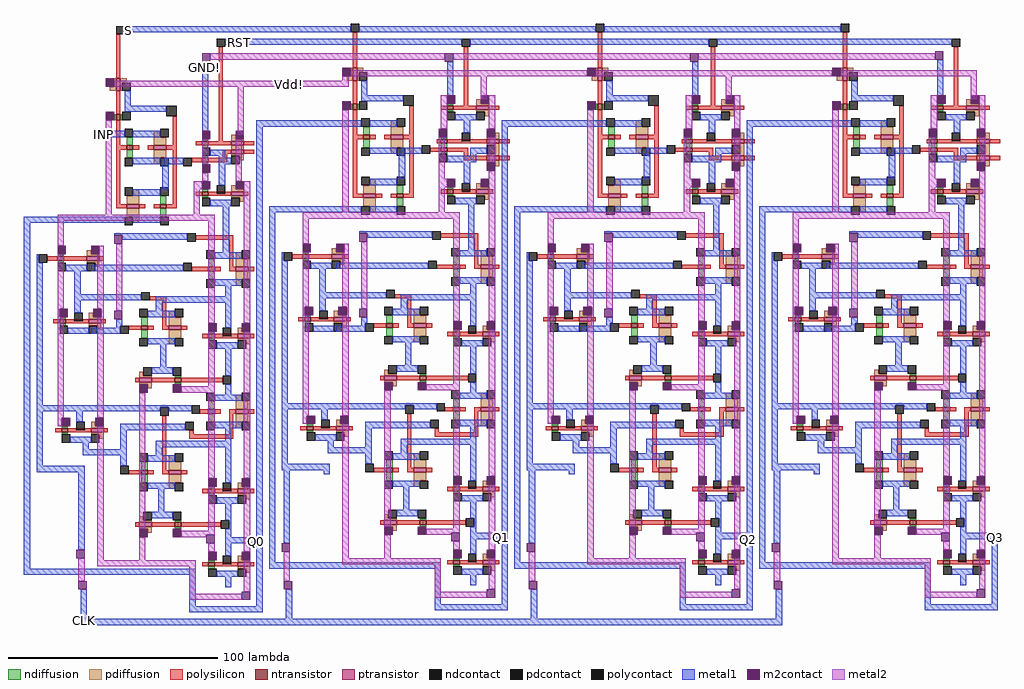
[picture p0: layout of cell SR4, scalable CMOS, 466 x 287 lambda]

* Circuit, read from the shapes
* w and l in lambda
.subckt SR4 CLK GND! INP Q0 Q1 Q2 Q3 RST S Vdd!
M1 GND! CLK dffP_0/gate_2/S VSUBS nfet w=3 l=2
M2 GND! dffP_0/gate_2/S dffP_0/gate_0/S VSUBS nfet w=3 l=2
M3 GND! CLK dffP_0/gate_1/S VSUBS nfet w=3 l=2
M4 mux2x1_1/Smb S GND! VSUBS nfet w=3 l=2
M5 INP S dffP_0/D VSUBS nfet w=3 l=2
M6 dffP_0/gate_3/Gin dffP_0/gate_1/S dffP_0/gate_3/Gout VSUBS nfet w=3 l=2
M7 dffP_0/gate_2/Gin dffP_0/gate_0/S dffP_0/gate_2/Gout VSUBS nfet w=3 l=2
M8 dffP_0/D mux2x1_1/Smb Q0 VSUBS nfet w=3 l=2
M9 dffP_0/gate_3/Gout Q0 GND! VSUBS nfet w=3 l=2
M10 dffP_0/gate_2/Gout dffP_0/gate_1/Gin GND! VSUBS nfet w=3 l=2
M11 GND! dffP_0/inverter_11/in dffP_0/gate_0/Gin VSUBS nfet w=3 l=2
M12 dffP_0/inverter_11/in dffP_0/D GND! VSUBS nfet w=3 l=2
M13 GND! RST dffP_0/inverter_11/in VSUBS nfet w=3 l=2
M14 GND! Q0 dffP_0/Qb VSUBS nfet w=3 l=2
M15 GND! dffP_0/gate_3/Gin Q0 VSUBS nfet w=3 l=2
M16 dffP_0/gate_1/Gin CLK dffP_0/gate_3/Gin VSUBS nfet w=3 l=2
M17 GND! dffP_0/gate_2/Gin dffP_0/gate_1/Gin VSUBS nfet w=3 l=2
M18 dffP_0/gate_0/Gin dffP_0/gate_2/S dffP_0/gate_2/Gin VSUBS nfet w=3 l=2
M19 GND! CLK dff3B_0/gate_2/S VSUBS nfet w=3 l=2
M20 GND! dff3B_0/gate_2/S dff3B_0/gate_0/S VSUBS nfet w=3 l=2
M21 GND! CLK dff3B_0/gate_1/S VSUBS nfet w=3 l=2
M22 mux2x1_0/Smb S GND! VSUBS nfet w=3 l=2
M23 Q0 S dff3B_0/D VSUBS nfet w=3 l=2
M24 dff3B_0/gate_3/Gin dff3B_0/gate_1/S dff3B_0/gate_3/Gout VSUBS nfet w=3 l=2
M25 dff3B_0/gate_2/Gin dff3B_0/gate_0/S dff3B_0/gate_2/Gout VSUBS nfet w=3 l=2
M26 dff3B_0/D mux2x1_0/Smb Q1 VSUBS nfet w=3 l=2
M27 dff3B_0/gate_3/Gout Q1 GND! VSUBS nfet w=3 l=2
M28 dff3B_0/gate_2/Gout dff3B_0/gate_1/Gin GND! VSUBS nfet w=3 l=2
M29 n1 dff3B_0/D dff3B_0/inverter_11/in VSUBS nfet w=3 l=2
M30 GND! dff3B_0/nand2_0/nand_in1 n1 VSUBS nfet w=3 l=2
M31 GND! dff3B_0/inverter_11/in dff3B_0/gate_0/Gin VSUBS nfet w=3 l=2
M32 GND! RST dff3B_0/nand2_0/nand_in1 VSUBS nfet w=3 l=2
M33 GND! Q1 dff3B_0/Qb VSUBS nfet w=3 l=2
M34 GND! dff3B_0/gate_3/Gin Q1 VSUBS nfet w=3 l=2
M35 dff3B_0/gate_1/Gin CLK dff3B_0/gate_3/Gin VSUBS nfet w=3 l=2
M36 GND! dff3B_0/gate_2/Gin dff3B_0/gate_1/Gin VSUBS nfet w=3 l=2
M37 dff3B_0/gate_0/Gin dff3B_0/gate_2/S dff3B_0/gate_2/Gin VSUBS nfet w=3 l=2
M38 GND! CLK dff3B_1/gate_2/S VSUBS nfet w=3 l=2
M39 GND! dff3B_1/gate_2/S dff3B_1/gate_0/S VSUBS nfet w=3 l=2
M40 GND! CLK dff3B_1/gate_1/S VSUBS nfet w=3 l=2
M41 mux2x1_2/Smb S GND! VSUBS nfet w=3 l=2
M42 Q1 S dff3B_1/D VSUBS nfet w=3 l=2
M43 dff3B_1/gate_3/Gin dff3B_1/gate_1/S dff3B_1/gate_3/Gout VSUBS nfet w=3 l=2
M44 dff3B_1/gate_2/Gin dff3B_1/gate_0/S dff3B_1/gate_2/Gout VSUBS nfet w=3 l=2
M45 dff3B_1/D mux2x1_2/Smb Q2 VSUBS nfet w=3 l=2
M46 dff3B_1/gate_3/Gout Q2 GND! VSUBS nfet w=3 l=2
M47 dff3B_1/gate_2/Gout dff3B_1/gate_1/Gin GND! VSUBS nfet w=3 l=2
M48 n2 dff3B_1/D dff3B_1/inverter_11/in VSUBS nfet w=3 l=2
M49 GND! dff3B_1/nand2_0/nand_in1 n2 VSUBS nfet w=3 l=2
M50 GND! dff3B_1/inverter_11/in dff3B_1/gate_0/Gin VSUBS nfet w=3 l=2
M51 GND! RST dff3B_1/nand2_0/nand_in1 VSUBS nfet w=3 l=2
M52 GND! Q2 dff3B_1/Qb VSUBS nfet w=3 l=2
M53 GND! dff3B_1/gate_3/Gin Q2 VSUBS nfet w=3 l=2
M54 dff3B_1/gate_1/Gin CLK dff3B_1/gate_3/Gin VSUBS nfet w=3 l=2
M55 GND! dff3B_1/gate_2/Gin dff3B_1/gate_1/Gin VSUBS nfet w=3 l=2
M56 dff3B_1/gate_0/Gin dff3B_1/gate_2/S dff3B_1/gate_2/Gin VSUBS nfet w=3 l=2
M57 GND! CLK dff3B_2/gate_2/S VSUBS nfet w=3 l=2
M58 GND! dff3B_2/gate_2/S dff3B_2/gate_0/S VSUBS nfet w=3 l=2
M59 GND! CLK dff3B_2/gate_1/S VSUBS nfet w=3 l=2
M60 mux2x1_3/Smb S GND! VSUBS nfet w=3 l=2
M61 Q2 S dff3B_2/D VSUBS nfet w=3 l=2
M62 dff3B_2/gate_3/Gin dff3B_2/gate_1/S dff3B_2/gate_3/Gout VSUBS nfet w=3 l=2
M63 dff3B_2/gate_2/Gin dff3B_2/gate_0/S dff3B_2/gate_2/Gout VSUBS nfet w=3 l=2
M64 dff3B_2/D mux2x1_3/Smb Q3 VSUBS nfet w=3 l=2
M65 dff3B_2/gate_3/Gout Q3 GND! VSUBS nfet w=3 l=2
M66 dff3B_2/gate_2/Gout dff3B_2/gate_1/Gin GND! VSUBS nfet w=3 l=2
M67 n3 dff3B_2/D dff3B_2/inverter_11/in VSUBS nfet w=3 l=2
M68 GND! dff3B_2/nand2_0/nand_in1 n3 VSUBS nfet w=3 l=2
M69 GND! dff3B_2/inverter_11/in dff3B_2/gate_0/Gin VSUBS nfet w=3 l=2
M70 GND! RST dff3B_2/nand2_0/nand_in1 VSUBS nfet w=3 l=2
M71 GND! Q3 dff3B_2/Qb VSUBS nfet w=3 l=2
M72 GND! dff3B_2/gate_3/Gin Q3 VSUBS nfet w=3 l=2
M73 dff3B_2/gate_1/Gin CLK dff3B_2/gate_3/Gin VSUBS nfet w=3 l=2
M74 GND! dff3B_2/gate_2/Gin dff3B_2/gate_1/Gin VSUBS nfet w=3 l=2
M75 dff3B_2/gate_0/Gin dff3B_2/gate_2/S dff3B_2/gate_2/Gin VSUBS nfet w=3 l=2
M76 Vdd! CLK dffP_0/gate_2/S NWELL pfet w=6 l=2
M77 Vdd! dffP_0/gate_2/S dffP_0/gate_0/S NWELL pfet w=6 l=2
M78 Vdd! CLK dffP_0/gate_1/S NWELL pfet w=6 l=2
M79 mux2x1_1/Smb S Vdd! NWELL pfet w=6 l=2
M80 dffP_0/D S Q0 NWELL pfet w=6 l=2
M81 dffP_0/gate_3/Gout Q0 Vdd! NWELL pfet w=6 l=2
M82 dffP_0/gate_2/Gout dffP_0/gate_1/Gin Vdd! NWELL pfet w=6 l=2
M83 INP mux2x1_1/Smb dffP_0/D NWELL pfet w=6 l=2
M84 dffP_0/gate_3/Gin CLK dffP_0/gate_3/Gout NWELL pfet w=6 l=2
M85 dffP_0/gate_2/Gin dffP_0/gate_2/S dffP_0/gate_2/Gout NWELL pfet w=6 l=2
M86 Vdd! dffP_0/inverter_11/in dffP_0/gate_0/Gin NWELL pfet w=6 l=2
M87 n4 dffP_0/D dffP_0/inverter_11/in NWELL pfet w=6 l=2
M88 Vdd! RST n4 NWELL pfet w=6 l=2
M89 dffP_0/gate_1/Gin dffP_0/gate_1/S dffP_0/gate_3/Gin NWELL pfet w=6 l=2
M90 dffP_0/gate_0/Gin dffP_0/gate_0/S dffP_0/gate_2/Gin NWELL pfet w=6 l=2
M91 Vdd! Q0 dffP_0/Qb NWELL pfet w=6 l=2
M92 Vdd! dffP_0/gate_3/Gin Q0 NWELL pfet w=6 l=2
M93 Vdd! dffP_0/gate_2/Gin dffP_0/gate_1/Gin NWELL pfet w=6 l=2
M94 Vdd! CLK dff3B_0/gate_2/S NWELL pfet w=6 l=2
M95 Vdd! dff3B_0/gate_2/S dff3B_0/gate_0/S NWELL pfet w=6 l=2
M96 Vdd! CLK dff3B_0/gate_1/S NWELL pfet w=6 l=2
M97 mux2x1_0/Smb S Vdd! NWELL pfet w=6 l=2
M98 dff3B_0/D S Q1 NWELL pfet w=6 l=2
M99 dff3B_0/gate_3/Gout Q1 Vdd! NWELL pfet w=6 l=2
M100 dff3B_0/gate_2/Gout dff3B_0/gate_1/Gin Vdd! NWELL pfet w=6 l=2
M101 Q0 mux2x1_0/Smb dff3B_0/D NWELL pfet w=6 l=2
M102 dff3B_0/gate_3/Gin CLK dff3B_0/gate_3/Gout NWELL pfet w=6 l=2
M103 dff3B_0/gate_2/Gin dff3B_0/gate_2/S dff3B_0/gate_2/Gout NWELL pfet w=6 l=2
M104 Vdd! dff3B_0/inverter_11/in dff3B_0/gate_0/Gin NWELL pfet w=6 l=2
M105 Vdd! RST dff3B_0/nand2_0/nand_in1 NWELL pfet w=6 l=2
M106 dff3B_0/gate_1/Gin dff3B_0/gate_1/S dff3B_0/gate_3/Gin NWELL pfet w=6 l=2
M107 dff3B_0/gate_0/Gin dff3B_0/gate_0/S dff3B_0/gate_2/Gin NWELL pfet w=6 l=2
M108 Vdd! Q1 dff3B_0/Qb NWELL pfet w=6 l=2
M109 Vdd! dff3B_0/gate_3/Gin Q1 NWELL pfet w=6 l=2
M110 Vdd! dff3B_0/gate_2/Gin dff3B_0/gate_1/Gin NWELL pfet w=6 l=2
M111 dff3B_0/inverter_11/in dff3B_0/D Vdd! NWELL pfet w=6 l=2
M112 Vdd! dff3B_0/nand2_0/nand_in1 dff3B_0/inverter_11/in NWELL pfet w=6 l=2
M113 Vdd! CLK dff3B_1/gate_2/S NWELL pfet w=6 l=2
M114 Vdd! dff3B_1/gate_2/S dff3B_1/gate_0/S NWELL pfet w=6 l=2
M115 Vdd! CLK dff3B_1/gate_1/S NWELL pfet w=6 l=2
M116 mux2x1_2/Smb S Vdd! NWELL pfet w=6 l=2
M117 dff3B_1/D S Q2 NWELL pfet w=6 l=2
M118 dff3B_1/gate_3/Gout Q2 Vdd! NWELL pfet w=6 l=2
M119 dff3B_1/gate_2/Gout dff3B_1/gate_1/Gin Vdd! NWELL pfet w=6 l=2
M120 Q1 mux2x1_2/Smb dff3B_1/D NWELL pfet w=6 l=2
M121 dff3B_1/gate_3/Gin CLK dff3B_1/gate_3/Gout NWELL pfet w=6 l=2
M122 dff3B_1/gate_2/Gin dff3B_1/gate_2/S dff3B_1/gate_2/Gout NWELL pfet w=6 l=2
M123 Vdd! dff3B_1/inverter_11/in dff3B_1/gate_0/Gin NWELL pfet w=6 l=2
M124 Vdd! RST dff3B_1/nand2_0/nand_in1 NWELL pfet w=6 l=2
M125 dff3B_1/gate_1/Gin dff3B_1/gate_1/S dff3B_1/gate_3/Gin NWELL pfet w=6 l=2
M126 dff3B_1/gate_0/Gin dff3B_1/gate_0/S dff3B_1/gate_2/Gin NWELL pfet w=6 l=2
M127 Vdd! Q2 dff3B_1/Qb NWELL pfet w=6 l=2
M128 Vdd! dff3B_1/gate_3/Gin Q2 NWELL pfet w=6 l=2
M129 Vdd! dff3B_1/gate_2/Gin dff3B_1/gate_1/Gin NWELL pfet w=6 l=2
M130 dff3B_1/inverter_11/in dff3B_1/D Vdd! NWELL pfet w=6 l=2
M131 Vdd! dff3B_1/nand2_0/nand_in1 dff3B_1/inverter_11/in NWELL pfet w=6 l=2
M132 Vdd! CLK dff3B_2/gate_2/S NWELL pfet w=6 l=2
M133 Vdd! dff3B_2/gate_2/S dff3B_2/gate_0/S NWELL pfet w=6 l=2
M134 Vdd! CLK dff3B_2/gate_1/S NWELL pfet w=6 l=2
M135 mux2x1_3/Smb S Vdd! NWELL pfet w=6 l=2
M136 dff3B_2/D S Q3 NWELL pfet w=6 l=2
M137 dff3B_2/gate_3/Gout Q3 Vdd! NWELL pfet w=6 l=2
M138 dff3B_2/gate_2/Gout dff3B_2/gate_1/Gin Vdd! NWELL pfet w=6 l=2
M139 Q2 mux2x1_3/Smb dff3B_2/D NWELL pfet w=6 l=2
M140 dff3B_2/gate_3/Gin CLK dff3B_2/gate_3/Gout NWELL pfet w=6 l=2
M141 dff3B_2/gate_2/Gin dff3B_2/gate_2/S dff3B_2/gate_2/Gout NWELL pfet w=6 l=2
M142 Vdd! dff3B_2/inverter_11/in dff3B_2/gate_0/Gin NWELL pfet w=6 l=2
M143 Vdd! RST dff3B_2/nand2_0/nand_in1 NWELL pfet w=6 l=2
M144 dff3B_2/gate_1/Gin dff3B_2/gate_1/S dff3B_2/gate_3/Gin NWELL pfet w=6 l=2
M145 dff3B_2/gate_0/Gin dff3B_2/gate_0/S dff3B_2/gate_2/Gin NWELL pfet w=6 l=2
M146 Vdd! Q3 dff3B_2/Qb NWELL pfet w=6 l=2
M147 Vdd! dff3B_2/gate_3/Gin Q3 NWELL pfet w=6 l=2
M148 Vdd! dff3B_2/gate_2/Gin dff3B_2/gate_1/Gin NWELL pfet w=6 l=2
M149 dff3B_2/inverter_11/in dff3B_2/D Vdd! NWELL pfet w=6 l=2
M150 Vdd! dff3B_2/nand2_0/nand_in1 dff3B_2/inverter_11/in NWELL pfet w=6 l=2
.ends

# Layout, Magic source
magic
tech scmos
<< polysilicon >>
rect -79 249 -77 269
rect -79 214 -77 226
rect -52 214 -50 230
rect -30 217 -28 263
rect 34 254 36 270
rect 34 219 36 231
rect 61 219 63 235
rect 87 234 89 263
rect 151 254 153 270
rect 151 219 153 231
rect 178 219 180 235
rect 205 234 207 263
rect 268 254 270 270
rect 268 219 270 231
rect 295 219 297 235
rect 321 234 323 263
rect 71 213 76 215
rect 188 213 193 215
rect 305 213 310 215
rect -43 208 -40 210
<< metal1 >>
rect -75 270 33 273
rect 37 270 150 273
rect 154 270 267 273
rect -27 264 86 267
rect 90 264 204 267
rect 208 264 320 267
rect -74 232 -55 235
rect -86 220 -80 223
rect -38 221 -35 256
rect 39 237 58 240
rect 79 237 82 256
rect 156 237 175 240
rect 196 238 199 256
rect 273 237 292 240
rect 313 238 316 257
rect -12 225 32 228
rect 105 225 149 228
rect 222 225 266 228
rect -56 207 -47 210
rect -123 179 -80 182
rect -123 14 -120 179
rect -97 23 -94 59
rect -12 29 -9 225
rect 57 212 67 215
rect -25 26 -9 29
rect -123 11 -41 14
rect -96 -10 -93 4
rect -44 -4 -41 11
rect -12 -4 -9 26
rect -6 184 33 187
rect -6 17 -3 184
rect 1 26 4 63
rect 105 31 108 225
rect 174 212 184 215
rect 90 28 108 31
rect -6 14 76 17
rect -44 -7 -9 -4
rect 2 -10 5 4
rect 73 -3 76 14
rect 105 -3 108 28
rect 111 184 150 187
rect 111 17 114 184
rect 118 26 121 63
rect 222 31 225 225
rect 291 212 301 215
rect 207 28 225 31
rect 111 14 193 17
rect 73 -6 108 -3
rect 119 -10 122 4
rect 190 -3 193 14
rect 222 -3 225 28
rect 228 184 267 187
rect 228 17 231 184
rect 235 26 238 63
rect 324 28 342 31
rect 228 14 310 17
rect 190 -6 225 -3
rect 236 -10 239 4
rect 307 -3 310 14
rect 339 -3 342 28
rect 307 -6 342 -3
rect -96 -13 239 -10
<< metal2 >>
rect -34 257 78 260
rect 82 257 195 260
rect 199 257 312 260
rect 33 249 146 252
rect 150 249 263 252
rect 267 249 332 252
rect 29 247 32 249
rect -80 244 2 247
rect -84 181 -81 228
rect -21 221 -18 244
rect 6 244 32 247
rect 95 238 98 249
rect 212 238 215 249
rect 329 238 332 249
rect 29 183 32 233
rect 146 183 149 233
rect 263 183 266 233
rect -97 8 -94 19
rect 1 8 4 22
rect 118 8 121 22
rect 235 8 238 22
<< polycontact >>
rect -79 269 -75 273
rect 33 270 37 274
rect 150 270 154 274
rect 267 270 271 274
rect -31 263 -27 267
rect -55 230 -50 235
rect 86 263 90 267
rect 58 235 63 240
rect 204 263 208 267
rect 175 235 180 240
rect 320 263 324 267
rect 292 235 297 240
rect 67 212 71 216
rect 184 212 188 216
rect 301 212 305 216
rect -47 206 -43 210
<< m2contact >>
rect -38 256 -34 260
rect 78 256 82 260
rect 195 256 199 260
rect 312 257 316 261
rect -84 244 -80 248
rect -84 228 -80 232
rect 29 249 33 253
rect 2 243 6 247
rect 29 233 33 237
rect 146 249 150 253
rect 146 233 150 237
rect 263 249 267 253
rect 263 233 267 237
rect -98 19 -94 23
rect -97 4 -93 8
rect 0 22 4 26
rect 1 4 5 8
rect 117 22 121 26
rect 118 4 122 8
rect 234 22 238 26
rect 235 4 239 8
use inverter inverter_1
transform 1 0 -79 0 1 235
box -5 -10 7 15
use inverter inverter_0
transform 1 0 34 0 1 240
box -5 -10 7 15
use mux2x1 mux2x1_1
transform 1 0 -74 0 1 173
box -8 5 24 51
use dffP dffP_0
transform 0 1 -45 -1 0 129
box -94 -72 130 32
use mux2x1 mux2x1_0
transform 1 0 39 0 1 178
box -8 5 24 51
use dff3B dff3B_0
transform 0 1 72 -1 0 130
box -110 -72 130 37
use inverter inverter_2
transform 1 0 151 0 1 240
box -5 -10 7 15
use mux2x1 mux2x1_2
transform 1 0 156 0 1 178
box -8 5 24 51
use dff3B dff3B_1
transform 0 1 189 -1 0 130
box -110 -72 130 37
use inverter inverter_3
transform 1 0 268 0 1 240
box -5 -10 7 15
use mux2x1 mux2x1_3
transform 1 0 273 0 1 178
box -8 5 24 51
use dff3B dff3B_2
transform 0 1 306 -1 0 130
box -110 -72 130 37
<< labels >>
rlabel metal1 -73 271 -73 271 5 S
rlabel metal1 -20 265 -20 265 1 RST
rlabel metal1 -37 253 -37 253 1 GND!
rlabel m2contact 4 245 4 245 1 Vdd!
rlabel metal1 -94 -11 -94 -11 1 CLK
rlabel metal1 -12 27 -12 27 1 Q0
rlabel metal1 105 29 105 29 1 Q1
rlabel metal1 223 28 223 28 1 Q2
rlabel metal1 341 29 341 29 7 Q3
rlabel metal1 -85 221 -85 221 1 INP
<< end >>

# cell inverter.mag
magic
tech scmos
<< polysilicon >>
rect 0 13 2 15
rect 0 -4 2 7
rect 0 -10 2 -7
<< ndiffusion >>
rect -1 -7 0 -4
rect 2 -7 3 -4
<< pdiffusion >>
rect -1 9 0 13
rect -3 7 0 9
rect 2 11 5 13
rect 2 7 3 11
<< metal1 >>
rect 4 -3 7 7
<< ntransistor >>
rect 0 -7 2 -4
<< ptransistor >>
rect 0 7 2 13
<< ndcontact >>
rect -5 -7 -1 -3
rect 3 -7 7 -3
<< pdcontact >>
rect -5 9 -1 13
rect 3 7 7 11
<< labels >>
rlabel pdcontact -3 11 -3 11 1 Vdd
rlabel ndcontact -3 -5 -3 -5 1 GND
rlabel polysilicon 1 0 1 0 1 in
rlabel metal1 5 1 5 1 7 out
<< end >>

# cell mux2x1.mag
magic
tech scmos
<< polysilicon >>
rect -5 13 -3 43
rect 22 13 24 43
<< metal1 >>
rect -8 47 -1 50
rect 17 22 20 34
rect -8 6 -1 9
use gate gate_1
transform 0 1 2 -1 0 42
box -9 -5 9 20
use gate gate_0
transform 0 -1 17 1 0 14
box -9 -5 9 20
<< labels >>
rlabel polysilicon -4 28 -4 28 3 Sm
rlabel polysilicon 23 28 23 28 7 Smb
rlabel metal1 -6 48 -6 48 4 Min1
rlabel metal1 -6 7 -6 7 2 Min2
rlabel metal1 18 28 18 28 1 Mout
<< end >>

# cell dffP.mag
magic
tech scmos
<< polysilicon >>
rect -89 29 -87 32
rect -85 29 -83 32
rect -44 20 -27 22
rect -44 4 -42 20
rect 39 20 53 22
rect -29 2 -27 8
rect 24 -2 26 17
rect 39 6 41 8
rect 51 3 53 20
rect 49 1 53 3
rect 93 -2 95 16
rect -15 -12 1 -10
rect -15 -18 -13 -12
rect 42 -12 70 -10
rect -1 -28 1 -24
rect 68 -28 70 -24
rect -34 -67 -32 -63
<< metal1 >>
rect -79 15 -68 18
rect -61 17 -35 20
rect -21 18 0 21
rect -45 -31 -42 0
rect -45 -35 -44 -31
rect -30 -46 -27 -2
rect -15 -12 -12 18
rect 9 18 23 21
rect 27 18 34 21
rect 47 18 74 21
rect 37 -9 40 2
rect -15 -15 -6 -12
rect 5 -13 22 -10
rect 37 -13 38 -9
rect -16 -51 -13 -22
rect -4 -32 -1 -31
rect -4 -34 3 -32
rect 0 -46 3 -34
rect 37 -50 40 -13
rect 46 -29 49 -1
rect 54 -12 57 18
rect 83 20 109 21
rect 83 18 92 20
rect 96 18 109 20
rect 117 18 124 21
rect 54 -15 63 -12
rect 76 -14 89 -11
rect 46 -32 66 -29
rect 58 -47 61 -32
rect -29 -54 -7 -51
rect 37 -53 45 -50
rect 54 -50 61 -47
rect 66 -52 71 -49
rect 37 -69 40 -53
rect 66 -69 69 -52
rect -31 -71 69 -69
rect -35 -72 69 -71
<< metal2 >>
rect -70 27 -2 30
rect -90 23 -70 26
rect 2 27 72 30
rect 76 27 107 30
rect 111 27 126 30
rect -90 7 -78 10
rect -74 7 -70 10
rect -70 6 -66 7
rect -54 10 -2 13
rect 2 10 72 13
rect 76 10 99 13
rect -54 6 -51 10
rect -70 3 -51 6
rect -54 -59 -51 3
rect 28 -3 31 10
rect 97 9 99 10
rect 103 10 107 13
rect 97 -3 100 9
rect 127 4 130 26
rect 111 1 130 4
rect 31 -23 96 -20
rect 111 -20 114 1
rect 100 -23 114 -20
rect -40 -34 -8 -31
rect 111 -40 114 -23
rect -39 -41 43 -40
rect -39 -42 -9 -41
rect -35 -43 -9 -42
rect -5 -43 43 -41
rect 47 -43 114 -40
rect -54 -62 -39 -59
rect -35 -61 -9 -59
rect -5 -60 43 -59
rect -5 -61 47 -60
rect -35 -62 47 -61
<< polycontact >>
rect -68 14 -64 18
rect 0 17 4 21
rect 23 17 27 21
rect -45 0 -41 4
rect -31 -2 -27 2
rect 37 2 41 6
rect 74 17 78 21
rect 92 16 96 20
rect 109 17 113 21
rect 45 -1 49 3
rect 38 -13 42 -9
rect -17 -22 -13 -18
rect -1 -32 3 -28
rect 66 -32 70 -28
rect -7 -54 -3 -50
rect 45 -53 49 -49
rect -35 -71 -31 -67
<< m2contact >>
rect -94 23 -90 27
rect -70 23 -66 27
rect -2 26 2 30
rect 72 26 76 30
rect 107 26 111 30
rect 126 26 130 30
rect -94 7 -90 11
rect -78 7 -74 11
rect -70 7 -66 11
rect -44 -35 -40 -31
rect -39 -46 -35 -42
rect -2 10 2 14
rect 27 -7 31 -3
rect 27 -23 31 -19
rect -8 -35 -4 -31
rect -9 -45 -5 -41
rect 72 10 76 14
rect 99 9 103 13
rect 107 10 111 14
rect 96 -7 100 -3
rect 96 -23 100 -19
rect 43 -44 47 -40
rect -39 -62 -35 -58
rect -9 -61 -5 -57
rect 43 -60 47 -56
use nor2 nor2_0
transform 1 0 -50 0 1 15
box -44 -11 -24 15
use inverter inverter_11
transform 1 0 -65 0 1 14
box -5 -10 7 15
use gate gate_0
transform 1 0 -28 0 1 12
box -9 -5 9 20
use inverter inverter_0
transform 1 0 3 0 1 17
box -5 -10 7 15
use gate gate_1
transform 1 0 40 0 1 12
box -9 -5 9 20
use inverter inverter_1
transform 1 0 77 0 1 17
box -5 -10 7 15
use inverter inverter_10
transform 1 0 112 0 1 17
box -5 -10 7 15
use gate gate_2
transform 1 0 0 0 1 -20
box -9 -5 9 20
use inverter inverter_2
transform -1 0 26 0 -1 -10
box -5 -10 7 15
use gate gate_3
transform 1 0 69 0 1 -20
box -9 -5 9 20
use inverter inverter_3
transform -1 0 95 0 -1 -10
box -5 -10 7 15
use inverter inverter_4
transform 1 0 -34 0 1 -55
box -5 -10 7 15
use inverter inverter_5
transform 1 0 -4 0 1 -54
box -5 -10 7 15
use inverter inverter_6
transform 1 0 48 0 1 -53
box -5 -10 7 15
<< labels >>
rlabel m2contact 101 11 101 11 1 GND!
rlabel metal1 104 19 104 19 1 Q
rlabel metal1 122 19 122 19 1 Qb
rlabel m2contact 128 28 128 28 6 Vdd!
rlabel metal1 68 -51 68 -51 1 CLK
rlabel polysilicon -88 31 -88 31 5 CLR
rlabel polysilicon -84 31 -84 31 5 D
<< end >>

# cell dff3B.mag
magic
tech scmos
<< polysilicon >>
rect -89 32 -87 37
rect -81 32 -79 37
rect -105 27 -103 32
rect -44 20 -27 22
rect -44 4 -42 20
rect 39 20 53 22
rect -29 2 -27 8
rect 24 -2 26 17
rect 39 6 41 8
rect 51 3 53 20
rect 49 1 53 3
rect 93 -2 95 16
rect -15 -12 1 -10
rect -15 -18 -13 -12
rect 42 -12 70 -10
rect -1 -28 1 -24
rect 68 -28 70 -24
rect -34 -67 -32 -63
<< metal1 >>
rect -99 15 -92 18
rect -79 15 -68 18
rect -61 17 -35 20
rect -21 18 0 21
rect -45 -31 -42 0
rect -45 -35 -44 -31
rect -30 -46 -27 -2
rect -15 -12 -12 18
rect 9 18 23 21
rect 27 18 34 21
rect 47 18 74 21
rect 37 -9 40 2
rect -15 -15 -6 -12
rect 5 -13 22 -10
rect 37 -13 38 -9
rect -16 -51 -13 -22
rect -4 -32 -1 -31
rect -4 -34 3 -32
rect 0 -46 3 -34
rect 37 -50 40 -13
rect 46 -29 49 -1
rect 54 -12 57 18
rect 83 20 109 21
rect 83 18 92 20
rect 96 18 109 20
rect 117 18 124 21
rect 54 -15 63 -12
rect 76 -14 89 -11
rect 46 -32 66 -29
rect 58 -47 61 -32
rect -29 -54 -7 -51
rect 37 -53 45 -50
rect 54 -50 61 -47
rect 66 -52 71 -49
rect 37 -69 40 -53
rect 66 -69 69 -52
rect -31 -71 69 -69
rect -35 -72 69 -71
<< metal2 >>
rect -110 27 -94 30
rect -90 27 -78 30
rect -74 27 -2 30
rect 2 27 72 30
rect 76 27 107 30
rect 111 27 126 30
rect -110 4 -94 7
rect -70 6 -66 7
rect -54 10 -2 13
rect 2 10 72 13
rect 76 10 99 13
rect -54 6 -51 10
rect -90 3 -51 6
rect -54 -59 -51 3
rect 28 -3 31 10
rect 97 9 99 10
rect 103 10 107 13
rect 97 -3 100 9
rect 127 4 130 26
rect 111 1 130 4
rect 31 -23 96 -20
rect 111 -20 114 1
rect 100 -23 114 -20
rect -40 -34 -8 -31
rect 111 -40 114 -23
rect -39 -41 43 -40
rect -39 -42 -9 -41
rect -35 -43 -9 -42
rect -5 -43 43 -41
rect 47 -43 114 -40
rect -54 -62 -39 -59
rect -35 -61 -9 -59
rect -5 -60 43 -59
rect -5 -61 47 -60
rect -35 -62 47 -61
<< polycontact >>
rect -92 14 -88 18
rect -68 14 -64 18
rect 0 17 4 21
rect 23 17 27 21
rect -45 0 -41 4
rect -31 -2 -27 2
rect 37 2 41 6
rect 74 17 78 21
rect 92 16 96 20
rect 109 17 113 21
rect 45 -1 49 3
rect 38 -13 42 -9
rect -17 -22 -13 -18
rect -1 -32 3 -28
rect 66 -32 70 -28
rect -7 -54 -3 -50
rect 45 -53 49 -49
rect -35 -71 -31 -67
<< m2contact >>
rect -110 23 -106 27
rect -94 26 -90 30
rect -78 26 -74 30
rect -70 23 -66 27
rect -2 26 2 30
rect 72 26 76 30
rect 107 26 111 30
rect 126 26 130 30
rect -110 7 -106 11
rect -70 7 -66 11
rect -94 3 -90 7
rect -44 -35 -40 -31
rect -39 -46 -35 -42
rect -2 10 2 14
rect 27 -7 31 -3
rect 27 -23 31 -19
rect -8 -35 -4 -31
rect -9 -45 -5 -41
rect 72 10 76 14
rect 99 9 103 13
rect 107 10 111 14
rect 96 -7 100 -3
rect 96 -23 100 -19
rect 43 -44 47 -40
rect -39 -62 -35 -58
rect -9 -61 -5 -57
rect 43 -60 47 -56
use inverter inverter_7
transform 1 0 -105 0 1 14
box -5 -10 7 15
use nand2 nand2_0
transform 1 0 -50 0 1 10
box -44 -8 -24 24
use inverter inverter_11
transform 1 0 -65 0 1 14
box -5 -10 7 15
use gate gate_0
transform 1 0 -28 0 1 12
box -9 -5 9 20
use inverter inverter_0
transform 1 0 3 0 1 17
box -5 -10 7 15
use gate gate_1
transform 1 0 40 0 1 12
box -9 -5 9 20
use inverter inverter_1
transform 1 0 77 0 1 17
box -5 -10 7 15
use inverter inverter_10
transform 1 0 112 0 1 17
box -5 -10 7 15
use gate gate_2
transform 1 0 0 0 1 -20
box -9 -5 9 20
use inverter inverter_2
transform -1 0 26 0 -1 -10
box -5 -10 7 15
use gate gate_3
transform 1 0 69 0 1 -20
box -9 -5 9 20
use inverter inverter_3
transform -1 0 95 0 -1 -10
box -5 -10 7 15
use inverter inverter_4
transform 1 0 -34 0 1 -55
box -5 -10 7 15
use inverter inverter_5
transform 1 0 -4 0 1 -54
box -5 -10 7 15
use inverter inverter_6
transform 1 0 48 0 1 -53
box -5 -10 7 15
<< labels >>
rlabel m2contact 101 11 101 11 1 GND!
rlabel metal1 104 19 104 19 1 Q
rlabel metal1 122 19 122 19 1 Qb
rlabel m2contact 128 28 128 28 6 Vdd!
rlabel polysilicon -80 35 -80 35 5 D
rlabel polysilicon -104 31 -104 31 1 CLR
rlabel metal1 68 -51 68 -51 1 CLK
<< end >>

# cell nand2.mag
magic
tech scmos
<< polysilicon >>
rect -39 22 -37 24
rect -31 22 -29 24
rect -39 -3 -37 16
rect -31 7 -29 16
rect -35 5 -29 7
rect -35 -3 -33 5
rect -39 -8 -37 -6
rect -35 -8 -33 -6
<< ndiffusion >>
rect -40 -6 -39 -3
rect -37 -6 -35 -3
rect -33 -6 -32 -3
<< pdiffusion >>
rect -42 20 -39 22
rect -40 16 -39 20
rect -37 20 -31 22
rect -37 16 -36 20
rect -32 16 -31 20
rect -29 20 -26 22
rect -29 16 -28 20
<< metal1 >>
rect -35 11 -32 16
rect -35 8 -28 11
rect -31 -3 -28 8
<< ntransistor >>
rect -39 -6 -37 -3
rect -35 -6 -33 -3
<< ptransistor >>
rect -39 16 -37 22
rect -31 16 -29 22
<< ndcontact >>
rect -44 -7 -40 -3
rect -32 -7 -28 -3
<< pdcontact >>
rect -44 16 -40 20
rect -36 16 -32 20
rect -28 16 -24 20
<< labels >>
rlabel ndcontact -42 -5 -42 -5 4 GND!
rlabel pdcontact -42 18 -42 18 3 Vdd!
rlabel polysilicon -38 2 -38 2 1 nand_in1
rlabel polysilicon -34 2 -34 2 1 nand_in2
rlabel metal1 -30 2 -30 2 1 nand_out
rlabel pdcontact -26 18 -26 18 3 Vdd!
<< end >>

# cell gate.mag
magic
tech scmos
<< polysilicon >>
rect -1 17 1 20
rect -1 8 1 11
rect -1 1 1 4
rect -1 -5 1 -2
<< ndiffusion >>
rect -5 -2 -1 1
rect 1 -2 5 1
<< pdiffusion >>
rect -5 14 -1 17
rect -8 11 -1 14
rect 1 14 5 17
rect 1 11 8 14
<< metal1 >>
rect -8 1 -5 14
rect 5 1 8 14
<< ntransistor >>
rect -1 -2 1 1
<< ptransistor >>
rect -1 11 1 17
<< ndcontact >>
rect -9 -3 -5 1
rect 5 -3 9 1
<< pdcontact >>
rect -9 14 -5 18
rect 5 14 9 18
<< labels >>
rlabel polysilicon 0 19 0 19 5 S
rlabel polysilicon 0 -4 0 -4 1 Sb
rlabel metal1 -7 6 -7 6 3 Gin
rlabel metal1 7 6 7 6 7 Gout
<< end >>

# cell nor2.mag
magic
tech scmos
<< polysilicon >>
rect -39 12 -37 15
rect -35 12 -33 15
rect -39 -5 -37 6
rect -35 4 -33 6
rect -35 2 -29 4
rect -31 -5 -29 2
rect -39 -11 -37 -8
rect -31 -11 -29 -8
<< ndiffusion >>
rect -40 -8 -39 -5
rect -37 -8 -36 -5
rect -32 -8 -31 -5
rect -29 -8 -28 -5
<< pdiffusion >>
rect -40 8 -39 12
rect -42 6 -39 8
rect -37 6 -35 12
rect -33 10 -30 12
rect -33 6 -32 10
<< metal1 >>
rect -31 3 -28 6
rect -35 0 -28 3
rect -35 -4 -32 0
<< ntransistor >>
rect -39 -8 -37 -5
rect -31 -8 -29 -5
<< ptransistor >>
rect -39 6 -37 12
rect -35 6 -33 12
<< ndcontact >>
rect -44 -8 -40 -4
rect -36 -8 -32 -4
rect -28 -8 -24 -4
<< pdcontact >>
rect -44 8 -40 12
rect -32 6 -28 10
<< labels >>
rlabel metal1 -33 0 -33 0 1 out
rlabel ndcontact -42 -6 -42 -6 2 GND!
rlabel ndcontact -26 -6 -26 -6 8 GND!
rlabel pdcontact -42 10 -42 10 4 Vdd!
rlabel polysilicon -38 4 -38 4 1 in1
rlabel polysilicon -34 4 -34 4 1 in2
<< end >>
